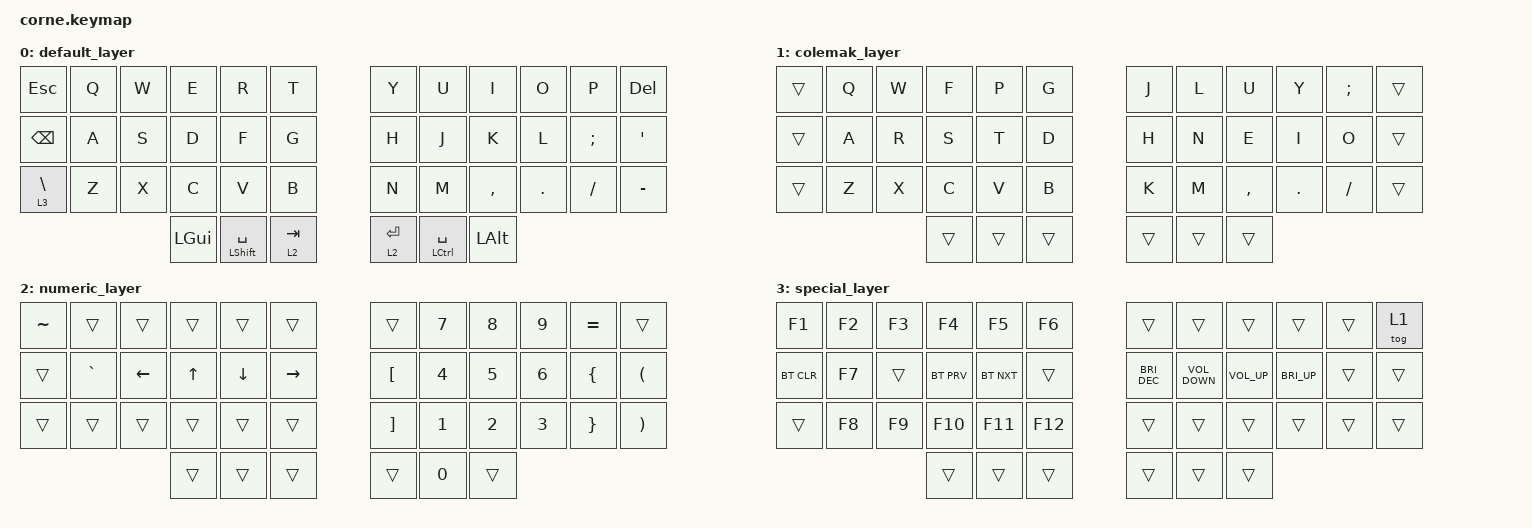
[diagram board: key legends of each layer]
/*
 * Copyright (c) 2020 The ZMK Contributors
 *
 * SPDX-License-Identifier: MIT
 */

#include <behaviors.dtsi>
#include <dt-bindings/zmk/bt.h>
#include <dt-bindings/zmk/keys.h>

/ {
    combos {
        compatible = "zmk,combos";

        tab_combo {
            bindings = <&kp TAB>;
            key-positions = <19 8>;
        };

        screen {
            bindings = <&kp PRINTSCREEN>;
            key-positions = <40 37>;
        };

        beginning {
            bindings = <&kp HOME>;
            key-positions = <14 13>;
        };

        pgdown {
            bindings = <&kp PG_DN>;
            key-positions = <32 33>;
        };

        pgup {
            bindings = <&kp PG_UP>;
            key-positions = <8 9>;
        };

        end {
            bindings = <&kp END>;
            key-positions = <21 22>;
        };

        back-word {
            bindings = <&kp LC(LEFT_ARROW)>;
            key-positions = <16 15>;
        };

        forward-word {
            bindings = <&kp LC(RIGHT_ARROW)>;
            key-positions = <19 20>;
        };

        back {
            bindings = <&kp LEFT_ARROW>;
            key-positions = <14 15>;
        };

        fwd {
            bindings = <&kp RIGHT_ARROW>;
            key-positions = <20 21>;
        };
    };

    keymap {
        compatible = "zmk,keymap";

        default_layer {
            // -----------------------------------------------------------------------------------------
            // |  TAB |  Q  |  W  |  E  |  R  |  T  |   |  Y  |  U   |  I  |  O  |  P  | BSPC |
            // | CTRL |  A  |  S  |  D  |  F  |  G  |   |  H  |  J   |  K  |  L  |  ;  |  '   |
            // | SHFT |  Z  |  X  |  C  |  V  |  B  |   |  N  |  M   |  ,  |  .  |  /  | ESC  |
            //                    | GUI | LWR | SPC |   | ENT | RSE  | ALT |

            bindings = <
&kp ESC          &kp Q  &kp W  &kp E     &kp R                 &kp T        &kp Y        &kp U            &kp I         &kp O    &kp P     &kp DELETE
&kp BACKSPACE    &kp A  &kp S  &kp D     &kp F                 &kp G        &kp H        &kp J            &kp K         &kp L    &kp SEMI  &kp SQT
&lt 3 BACKSLASH  &kp Z  &kp X  &kp C     &kp V                 &kp B        &kp N        &kp M            &kp COMMA     &kp DOT  &kp FSLH  &kp MINUS
                               &kp LGUI  &mt LEFT_SHIFT SPACE  &lt 2 TAB    &lt 2 ENTER  &mt LCTRL SPACE  &kp LEFT_ALT
            >;
        };

        colemak_layer {
            bindings = <
&trans  &kp Q  &kp W  &kp F   &kp P   &kp G     &kp J   &kp L   &kp U      &kp Y    &kp SEMI  &trans
&trans  &kp A  &kp R  &kp S   &kp T   &kp D     &kp H   &kp N   &kp E      &kp I    &kp O     &trans
&trans  &kp Z  &kp X  &kp C   &kp V   &kp B     &kp K   &kp M   &kp COMMA  &kp DOT  &kp FSLH  &trans
                      &trans  &trans  &trans    &trans  &trans  &trans
            >;
        };

        numeric_layer {
            // -----------------------------------------------------------------------------------------
            // |  TAB |  1  |  2  |  3  |  4  |  5  |   |  6  |  7  |  8  |  9  |  0  | BSPC |
            // | BTCLR| BT1 | BT2 | BT3 | BT4 | BT5 |   | LFT | DWN |  UP | RGT |     |      |
            // | SHFT |     |     |     |     |     |   |     |     |     |     |     |      |
            //                    | GUI |     | SPC |   | ENT |     | ALT |

            bindings = <
&kp TILDE  &trans     &trans    &trans  &trans    &trans       &trans             &kp N7        &kp N8  &kp N9  &kp EQUAL        &trans
&trans     &kp GRAVE  &kp LEFT  &kp UP  &kp DOWN  &kp RIGHT    &kp LEFT_BRACKET   &kp N4        &kp N5  &kp N6  &kp LEFT_BRACE   &kp LEFT_PARENTHESIS
&trans     &trans     &trans    &trans  &trans    &trans       &kp RIGHT_BRACKET  &kp NUMBER_1  &kp N2  &kp N3  &kp RIGHT_BRACE  &kp RIGHT_PARENTHESIS
                                &trans  &trans    &trans       &trans             &kp N0        &trans
            >;
        };

        special_layer {
            // -----------------------------------------------------------------------------------------
            // |  TAB |  !  |  @  |  #  |  $  |  %  |   |  ^  |  &  |  *  |  (  |  )  | BSPC |
            // | CTRL |     |     |     |     |     |   |  -  |  =  |  [  |  ]  |  \  |  `   |
            // | SHFT |     |     |     |     |     |   |  _  |  +  |  {  |  }  | "|" |  ~   |
            //                    | GUI |     | SPC |   | ENT |     | ALT |

            bindings = <
&kp F1      &kp F2  &kp F3  &kp F4      &kp F5      &kp F6     &trans                &trans             &trans        &trans        &trans  &tog 1
&bt BT_CLR  &kp F7  &trans  &bt BT_PRV  &bt BT_NXT  &trans     &kp C_BRIGHTNESS_DEC  &kp K_VOLUME_DOWN  &kp K_VOL_UP  &kp C_BRI_UP  &trans  &trans
&trans      &kp F8  &kp F9  &kp F10     &kp F11     &kp F12    &trans                &trans             &trans        &trans        &trans  &trans
                            &trans      &trans      &trans     &trans                &trans             &trans
            >;
        };
    };
};

&led_strip { chain-length = <27>; };
